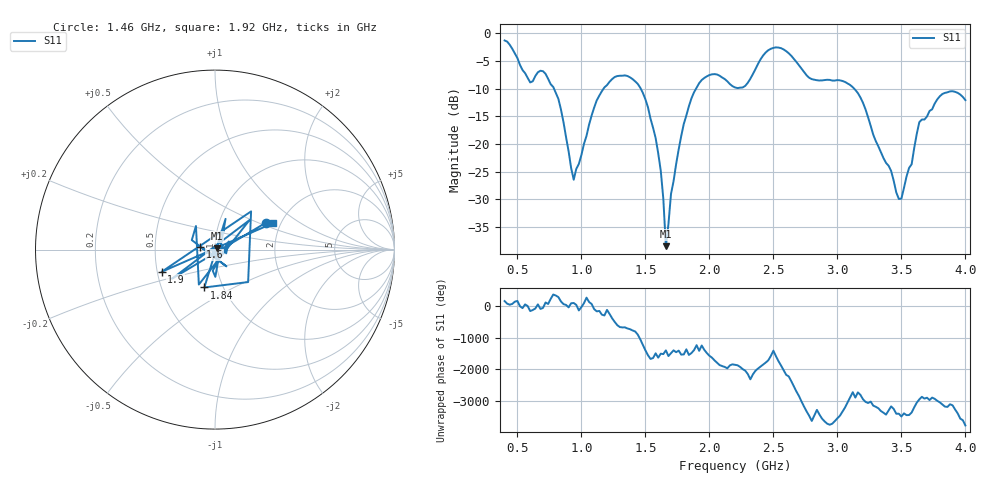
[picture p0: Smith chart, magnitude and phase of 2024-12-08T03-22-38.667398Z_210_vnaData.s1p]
!Created with skrf (http://scikit-rf.org).
# Hz S RI R 50.0
!freq ReS11 ImS11
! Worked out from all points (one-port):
!   181 points, 400 MHz to 4 GHz, reference 50 ohm
!   lowest |S11| = -38.5 dB at 1.66 GHz (marker M1), VSWR 1.02, Z = 50.9 + j0.752 ohm
!   |S11| at or under -10 dB: 785.2 MHz to 1.174 GHz (388.5 MHz wide, 39.7 % of centre); 1.463 GHz to 1.896 GHz (432.7 MHz wide, 25.8 % of centre); 3.13 GHz to end of sweep
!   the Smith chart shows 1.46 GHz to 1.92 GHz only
!   S11 on the Smith chart (normalised r, x): 1.46 GHz: 1.68, +0.56; 1.6 GHz: 0.85, +0.03; 1.84 GHz: 0.82, -0.36; 1.9 GHz: 0.53, -0.15; 1.92 GHz: 1.82, +0.61
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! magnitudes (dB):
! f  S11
! 400 MHz  -1.3
! 600 MHz  -8.9
! 720 MHz  -7.3
! 860 MHz  -16.1
! 940 MHz  -26.5
! 1.12 GHz  -12.1
! 1.3 GHz  -7.7
! 1.46 GHz  -9.8
! 1.6 GHz  -21.7
! 1.64 GHz  -29.9
! 1.66 GHz  -38.5
! 1.7 GHz  -29.0
! 1.76 GHz  -21.0
! 1.84 GHz  -13.2
! 1.9 GHz  -9.8
! 1.92 GHz  -9.0
! 2.04 GHz  -7.4
! 2.2 GHz  -9.8
! 2.48 GHz  -2.8
! 2.66 GHz  -4.6
! 2.8 GHz  -8.3
! 3.1 GHz  -9.4
! 3.2 GHz  -12.6
! 3.48 GHz  -29.9
! 3.56 GHz  -24.3
! 3.64 GHz  -16.1
! 3.8 GHz  -11.4
! 4 GHz  -12.1
